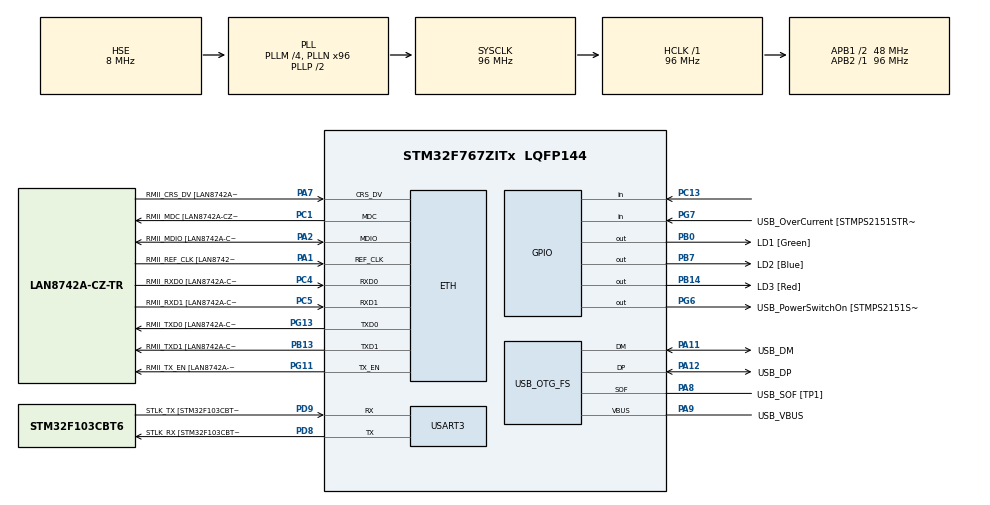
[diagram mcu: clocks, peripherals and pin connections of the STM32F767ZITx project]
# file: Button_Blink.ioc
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CORTEX_M7.default_mode_Activation=1
ETH.MediaInterface=HAL_ETH_RMII_MODE
ETH.PHY_Name=LAN8742A_PHY_ADDRESS
ETH.PHY_Value=0
ETH.PhyAddress=0
Mcu.Family=STM32F7
Mcu.Name=STM32F767ZITx
Mcu.Package=LQFP144
NVIC.PriorityGroup=NVIC_PRIORITYGROUP_4
PA1.GPIO_Label=RMII_REF_CLK [LAN8742A-CZ-TR_REFCLK0]
PA1.Mode=RMII
PA1.Signal=ETH_REF_CLK
PA10.GPIO_Label=USB_ID
PA10.Signal=USB_OTG_FS_ID
PA11.GPIO_Label=USB_DM
PA11.Mode=Device_Only
PA11.Signal=USB_OTG_FS_DM
PA12.GPIO_Label=USB_DP
PA12.Mode=Device_Only
PA12.Signal=USB_OTG_FS_DP
PA13.GPIO_Label=TMS
PA13.Mode=Serial_Wire
PA13.Signal=SYS_JTMS-SWDIO
PA14.GPIO_Label=TCK
PA14.Mode=Serial_Wire
PA14.Signal=SYS_JTCK-SWCLK
PA2.GPIO_Label=RMII_MDIO [LAN8742A-CZ-TR_MDIO]
PA2.Mode=RMII
PA2.Signal=ETH_MDIO
PA7.GPIO_Label=RMII_CRS_DV [LAN8742A-CZ-TR_CRS_DV]
PA7.Mode=RMII
PA7.Signal=ETH_CRS_DV
PA8.GPIO_Label=USB_SOF [TP1]
PA8.Mode=Activate_SOF_FS
PA8.Signal=USB_OTG_FS_SOF
PA9.GPIO_Label=USB_VBUS
PA9.Mode=Activate_VBUS
PA9.Signal=USB_OTG_FS_VBUS
PB0.GPIO_Label=LD1 [Green]
PB0.Signal=GPIO_Output
PB13.GPIO_Label=RMII_TXD1 [LAN8742A-CZ-TR_TXD1]
PB13.Mode=RMII
PB13.Signal=ETH_TXD1
PB14.GPIO_Label=LD3 [Red]
PB14.Signal=GPIO_Output
PB3.GPIO_Label=SWO
PB3.Signal=SYS_JTDO-SWO
PB7.GPIO_Label=LD2 [Blue]
PB7.Signal=GPIO_Output
PC1.GPIO_Label=RMII_MDC [LAN8742A-CZ-TR_MDC]
PC1.Mode=RMII
PC1.Signal=ETH_MDC
PC13.Signal=GPIO_Input
PC14/OSC32_IN.Mode=LSE-External-Oscillator
PC14/OSC32_IN.Signal=RCC_OSC32_IN
PC15/OSC32_OUT.Mode=LSE-External-Oscillator
PC15/OSC32_OUT.Signal=RCC_OSC32_OUT
PC4.GPIO_Label=RMII_RXD0 [LAN8742A-CZ-TR_RXD0]
PC4.Mode=RMII
PC4.Signal=ETH_RXD0
PC5.GPIO_Label=RMII_RXD1 [LAN8742A-CZ-TR_RXD1]
PC5.Mode=RMII
PC5.Signal=ETH_RXD1
PD8.GPIO_Label=STLK_RX [STM32F103CBT6_PA3]
PD8.Mode=Asynchronous
PD8.Signal=USART3_TX
PD9.GPIO_Label=STLK_TX [STM32F103CBT6_PA2]
PD9.Mode=Asynchronous
PD9.Signal=USART3_RX
PG11.GPIO_Label=RMII_TX_EN [LAN8742A-CZ-TR_TXEN]
PG11.Mode=RMII
PG11.Signal=ETH_TX_EN
PG13.GPIO_Label=RMII_TXD0 [LAN8742A-CZ-TR_TXD0]
PG13.Mode=RMII
PG13.Signal=ETH_TXD0
PG6.GPIO_Label=USB_PowerSwitchOn [STMPS2151STR_EN]
PG6.Signal=GPIO_Output
PG7.GPIO_Label=USB_OverCurrent [STMPS2151STR_FAULT]
PG7.Signal=GPIO_Input
PH0/OSC_IN.GPIO_Label=MCO [STM32F103CBT6_PA8]
PH0/OSC_IN.Mode=HSE-External-Clock-Source
PH0/OSC_IN.Signal=RCC_OSC_IN
PH1/OSC_OUT.Mode=HSE-External-Clock-Source
PH1/OSC_OUT.Signal=RCC_OSC_OUT
ProjectManager.HeapSize=0x200
ProjectManager.StackSize=0x400
ProjectManager.TargetToolchain=STM32CubeIDE
RCC.48MHZClocksFreq_Value=24000000
RCC.AHBFreq_Value=96000000
RCC.APB1CLKDivider=RCC_HCLK_DIV2
RCC.APB1Freq_Value=48000000
RCC.APB1TimFreq_Value=96000000
RCC.APB2Freq_Value=96000000
RCC.APB2TimFreq_Value=96000000
RCC.CortexFreq_Value=96000000
RCC.HCLKFreq_Value=96000000
RCC.HSE_VALUE=8000000
RCC.HSI_VALUE=16000000
RCC.PLLM=4
RCC.PLLMUL=RCC_PLL_MUL9
RCC.PLLN=96
RCC.PLLQ=4
RCC.PRESCALERUSB=RCC_USBCLKSOURCE_PLL_DIV1_5
RCC.SYSCLKFreq_VALUE=96000000
RCC.SYSCLKSource=RCC_SYSCLKSOURCE_PLLCLK
RCC.SYSCLKSourceVirtual=RCC_SYSCLKSOURCE_PLLCLK
RCC.USBFreq_Value=48000000
RCC.VCOOutputFreq_Value=192000000
USART3.VirtualMode-Asynchronous=VM_ASYNC
USB_OTG_FS.VirtualMode=Device_Only
board=NUCLEO-F767ZI

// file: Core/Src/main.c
/* USER CODE BEGIN Header */
/**
  ******************************************************************************
  * @file           : main.c
  * @brief          : Main program body
  ******************************************************************************
  * @attention
  *
  * Copyright (c) 2026 STMicroelectronics.
  * All rights reserved.
  *
  * This software is licensed under terms that can be found in the LICENSE file
  * in the root directory of this software component.
  * If no LICENSE file comes with this software, it is provided AS-IS.
  *
  ******************************************************************************
  */
/* USER CODE END Header */
#include "main.h"
#include "string.h"

#if defined ( __ICCARM__ ) /*!< IAR Compiler */
#pragma location=0x2007c000
ETH_DMADescTypeDef  DMARxDscrTab[ETH_RX_DESC_CNT]; /* Ethernet Rx DMA Descriptors */
#pragma location=0x2007c0a0
ETH_DMADescTypeDef  DMATxDscrTab[ETH_TX_DESC_CNT]; /* Ethernet Tx DMA Descriptors */

#elif defined ( __CC_ARM )  /* MDK ARM Compiler */

__attribute__((at(0x2007c000))) ETH_DMADescTypeDef  DMARxDscrTab[ETH_RX_DESC_CNT]; /* Ethernet Rx DMA Descriptors */
__attribute__((at(0x2007c0a0))) ETH_DMADescTypeDef  DMATxDscrTab[ETH_TX_DESC_CNT]; /* Ethernet Tx DMA Descriptors */

#elif defined ( __GNUC__ ) /* GNU Compiler */

ETH_DMADescTypeDef DMARxDscrTab[ETH_RX_DESC_CNT] __attribute__((section(".RxDecripSection"))); /* Ethernet Rx DMA Descriptors */
ETH_DMADescTypeDef DMATxDscrTab[ETH_TX_DESC_CNT] __attribute__((section(".TxDecripSection")));   /* Ethernet Tx DMA Descriptors */
#endif

ETH_TxPacketConfig TxConfig;

ETH_HandleTypeDef heth;

UART_HandleTypeDef huart3;

PCD_HandleTypeDef hpcd_USB_OTG_FS;

void SystemClock_Config(void);
static void MPU_Config(void);
static void MX_GPIO_Init(void);
static void MX_ETH_Init(void);
static void MX_USART3_UART_Init(void);
static void MX_USB_OTG_FS_PCD_Init(void);

int main(void)
{

  /* MPU Configuration--------------------------------------------------------*/
  MPU_Config();

  /* MCU Configuration--------------------------------------------------------*/

  /* Reset of all peripherals, Initializes the Flash interface and the Systick. */
  HAL_Init();

  /* Configure the system clock */
  SystemClock_Config();

  /* Initialize all configured peripherals */
  MX_GPIO_Init();
  MX_ETH_Init();
  MX_USART3_UART_Init();
  MX_USB_OTG_FS_PCD_Init();

  /* Infinite loop */
  /* USER CODE BEGIN WHILE */
  uint32_t Vector[] = {GPIO_PIN_0,GPIO_PIN_7,GPIO_PIN_14};
  uint8_t vectorSize = sizeof(Vector) / sizeof(Vector[0]);
  while (1)
  {
<<<<<<< HEAD
	  for (uint8_t i=0;i<vectorSize;i++){
		  HAL_GPIO_WritePin(GPIOB,Vector[i],GPIO_PIN_SET);
	  }
	  if (HAL_GPIO_ReadPin(GPIOC,GPIO_PIN_13)==GPIO_PIN_SET){
		  for (uint8_t i=0; i<vectorSize;i++){
			  HAL_GPIO_WritePin(GPIOB,Vector[i],GPIO_PIN_RESET);
		  }
		  for (uint8_t i=0;i<vectorSize;i++){
			  HAL_GPIO_WritePin(GPIOB,Vector[i],GPIO_PIN_SET);
			  HAL_Delay(500);
			  HAL_GPIO_WritePin(GPIOB,Vector[i],GPIO_PIN_RESET);
		  }

=======
	  if (HAL_GPIO_ReadPin(GPIOC,GPIO_PIN_13)){
		  for (uint8_t i=0; i<sizeof(Vector);i++){
			  HAL_GPIO_WritePin(GPIOB,Vector[i],GPIO_PIN_RESET);
		  }
		  for (uint8_t i=0;i<sizeof(Vector);i++){
			  HAL_GPIO_WritePin(GPIOB,Vector[i],GPIO_PIN_SET);
			  HAL_Delay(100);
			  HAL_GPIO_WritePin(GPIOB,Vector[i],GPIO_PIN_RESET);
		  }
		  HAL_GPIO_WritePin(GPIOB,GPIO_PIN_0,GPIO_PIN_SET);
		  HAL_GPIO_WritePin(GPIOB,GPIO_PIN_7,GPIO_PIN_SET);
		  HAL_GPIO_WritePin(GPIOB,GPIO_PIN_14,GPIO_PIN_SET);
>>>>>>> 5bce1ef9e2935c9781e133def6e2a918db716fbe
	  }
    /* USER CODE END WHILE */

  }
}

void SystemClock_Config(void)
{
  RCC_OscInitTypeDef RCC_OscInitStruct = {0};
  RCC_ClkInitTypeDef RCC_ClkInitStruct = {0};

  /** Configure LSE Drive Capability
  */
  HAL_PWR_EnableBkUpAccess();

  /** Configure the main internal regulator output voltage
  */
  __HAL_RCC_PWR_CLK_ENABLE();
  __HAL_PWR_VOLTAGESCALING_CONFIG(PWR_REGULATOR_VOLTAGE_SCALE3);

  /** Initializes the RCC Oscillators according to the specified parameters
  * in the RCC_OscInitTypeDef structure.
  */
  RCC_OscInitStruct.OscillatorType = RCC_OSCILLATORTYPE_HSE;
  RCC_OscInitStruct.HSEState = RCC_HSE_BYPASS;
  RCC_OscInitStruct.PLL.PLLState = RCC_PLL_ON;
  RCC_OscInitStruct.PLL.PLLSource = RCC_PLLSOURCE_HSE;
  RCC_OscInitStruct.PLL.PLLM = 4;
  RCC_OscInitStruct.PLL.PLLN = 96;
  RCC_OscInitStruct.PLL.PLLP = RCC_PLLP_DIV2;
  RCC_OscInitStruct.PLL.PLLQ = 4;
  RCC_OscInitStruct.PLL.PLLR = 2;
  if (HAL_RCC_OscConfig(&RCC_OscInitStruct) != HAL_OK)
  {
    Error_Handler();
  }

  /** Activate the Over-Drive mode
  */
  if (HAL_PWREx_EnableOverDrive() != HAL_OK)
  {
    Error_Handler();
  }

  /** Initializes the CPU, AHB and APB buses clocks
  */
  RCC_ClkInitStruct.ClockType = RCC_CLOCKTYPE_HCLK|RCC_CLOCKTYPE_SYSCLK
                              |RCC_CLOCKTYPE_PCLK1|RCC_CLOCKTYPE_PCLK2;
  RCC_ClkInitStruct.SYSCLKSource = RCC_SYSCLKSOURCE_PLLCLK;
  RCC_ClkInitStruct.AHBCLKDivider = RCC_SYSCLK_DIV1;
  RCC_ClkInitStruct.APB1CLKDivider = RCC_HCLK_DIV2;
  RCC_ClkInitStruct.APB2CLKDivider = RCC_HCLK_DIV1;

  if (HAL_RCC_ClockConfig(&RCC_ClkInitStruct, FLASH_LATENCY_3) != HAL_OK)
  {
    Error_Handler();
  }
}

static void MX_ETH_Init(void)
{

   static uint8_t MACAddr[6];

  heth.Instance = ETH;
  MACAddr[0] = 0x00;
  MACAddr[1] = 0x80;
  MACAddr[2] = 0xE1;
  MACAddr[3] = 0x00;
  MACAddr[4] = 0x00;
  MACAddr[5] = 0x00;
  heth.Init.MACAddr = &MACAddr[0];
  heth.Init.MediaInterface = HAL_ETH_RMII_MODE;
  heth.Init.TxDesc = DMATxDscrTab;
  heth.Init.RxDesc = DMARxDscrTab;
  heth.Init.RxBuffLen = 1524;

  if (HAL_ETH_Init(&heth) != HAL_OK)
  {
    Error_Handler();
  }

  memset(&TxConfig, 0 , sizeof(ETH_TxPacketConfig));
  TxConfig.Attributes = ETH_TX_PACKETS_FEATURES_CSUM | ETH_TX_PACKETS_FEATURES_CRCPAD;
  TxConfig.ChecksumCtrl = ETH_CHECKSUM_IPHDR_PAYLOAD_INSERT_PHDR_CALC;
  TxConfig.CRCPadCtrl = ETH_CRC_PAD_INSERT;

}

static void MX_USART3_UART_Init(void)
{

  huart3.Instance = USART3;
  huart3.Init.BaudRate = 115200;
  huart3.Init.WordLength = UART_WORDLENGTH_8B;
  huart3.Init.StopBits = UART_STOPBITS_1;
  huart3.Init.Parity = UART_PARITY_NONE;
  huart3.Init.Mode = UART_MODE_TX_RX;
  huart3.Init.HwFlowCtl = UART_HWCONTROL_NONE;
  huart3.Init.OverSampling = UART_OVERSAMPLING_16;
  huart3.Init.OneBitSampling = UART_ONE_BIT_SAMPLE_DISABLE;
  huart3.AdvancedInit.AdvFeatureInit = UART_ADVFEATURE_NO_INIT;
  if (HAL_UART_Init(&huart3) != HAL_OK)
  {
    Error_Handler();
  }

}

static void MX_USB_OTG_FS_PCD_Init(void)
{

  hpcd_USB_OTG_FS.Instance = USB_OTG_FS;
  hpcd_USB_OTG_FS.Init.dev_endpoints = 6;
  hpcd_USB_OTG_FS.Init.speed = PCD_SPEED_FULL;
  hpcd_USB_OTG_FS.Init.dma_enable = DISABLE;
  hpcd_USB_OTG_FS.Init.phy_itface = PCD_PHY_EMBEDDED;
  hpcd_USB_OTG_FS.Init.Sof_enable = ENABLE;
  hpcd_USB_OTG_FS.Init.low_power_enable = DISABLE;
  hpcd_USB_OTG_FS.Init.lpm_enable = DISABLE;
  hpcd_USB_OTG_FS.Init.vbus_sensing_enable = ENABLE;
  hpcd_USB_OTG_FS.Init.use_dedicated_ep1 = DISABLE;
  if (HAL_PCD_Init(&hpcd_USB_OTG_FS) != HAL_OK)
  {
    Error_Handler();
  }

}

static void MX_GPIO_Init(void)
{
  GPIO_InitTypeDef GPIO_InitStruct = {0};

  /* GPIO Ports Clock Enable */
  __HAL_RCC_GPIOC_CLK_ENABLE();
  __HAL_RCC_GPIOH_CLK_ENABLE();
  __HAL_RCC_GPIOA_CLK_ENABLE();
  __HAL_RCC_GPIOB_CLK_ENABLE();
  __HAL_RCC_GPIOD_CLK_ENABLE();
  __HAL_RCC_GPIOG_CLK_ENABLE();

  /*Configure GPIO pin Output Level */
  HAL_GPIO_WritePin(GPIOB, LD1_Pin|LD3_Pin|LD2_Pin, GPIO_PIN_RESET);

  /*Configure GPIO pin Output Level */
  HAL_GPIO_WritePin(USB_PowerSwitchOn_GPIO_Port, USB_PowerSwitchOn_Pin, GPIO_PIN_RESET);

  /*Configure GPIO pin : PC13 */
  GPIO_InitStruct.Pin = GPIO_PIN_13;
<<<<<<< HEAD
  GPIO_InitStruct.Mode = GPIO_MODE_INPUT;
  GPIO_InitStruct.Pull = GPIO_PULLDOWN;
=======
  GPIO_InitStruct.Mode = GPIO_MODE_IT_RISING;
  GPIO_InitStruct.Pull = GPIO_NOPULL;
>>>>>>> 5bce1ef9e2935c9781e133def6e2a918db716fbe
  HAL_GPIO_Init(GPIOC, &GPIO_InitStruct);

  /*Configure GPIO pins : LD1_Pin LD3_Pin LD2_Pin */
  GPIO_InitStruct.Pin = LD1_Pin|LD3_Pin|LD2_Pin;
  GPIO_InitStruct.Mode = GPIO_MODE_OUTPUT_PP;
  GPIO_InitStruct.Pull = GPIO_NOPULL;
  GPIO_InitStruct.Speed = GPIO_SPEED_FREQ_LOW;
  HAL_GPIO_Init(GPIOB, &GPIO_InitStruct);

  /*Configure GPIO pin : USB_PowerSwitchOn_Pin */
  GPIO_InitStruct.Pin = USB_PowerSwitchOn_Pin;
  GPIO_InitStruct.Mode = GPIO_MODE_OUTPUT_PP;
  GPIO_InitStruct.Pull = GPIO_NOPULL;
  GPIO_InitStruct.Speed = GPIO_SPEED_FREQ_LOW;
  HAL_GPIO_Init(USB_PowerSwitchOn_GPIO_Port, &GPIO_InitStruct);

  /*Configure GPIO pin : USB_OverCurrent_Pin */
  GPIO_InitStruct.Pin = USB_OverCurrent_Pin;
  GPIO_InitStruct.Mode = GPIO_MODE_INPUT;
  GPIO_InitStruct.Pull = GPIO_NOPULL;
  HAL_GPIO_Init(USB_OverCurrent_GPIO_Port, &GPIO_InitStruct);

  /* EXTI interrupt init*/
  HAL_NVIC_SetPriority(EXTI15_10_IRQn, 0, 0);
  HAL_NVIC_EnableIRQ(EXTI15_10_IRQn);

}

 /* MPU Configuration */

void MPU_Config(void)
{
  MPU_Region_InitTypeDef MPU_InitStruct = {0};

  /* Disables the MPU */
  HAL_MPU_Disable();

  /** Initializes and configures the Region and the memory to be protected
  */
  MPU_InitStruct.Enable = MPU_REGION_ENABLE;
  MPU_InitStruct.Number = MPU_REGION_NUMBER0;
  MPU_InitStruct.BaseAddress = 0x0;
  MPU_InitStruct.Size = MPU_REGION_SIZE_4GB;
  MPU_InitStruct.SubRegionDisable = 0x87;
  MPU_InitStruct.TypeExtField = MPU_TEX_LEVEL0;
  MPU_InitStruct.AccessPermission = MPU_REGION_NO_ACCESS;
  MPU_InitStruct.DisableExec = MPU_INSTRUCTION_ACCESS_DISABLE;
  MPU_InitStruct.IsShareable = MPU_ACCESS_SHAREABLE;
  MPU_InitStruct.IsCacheable = MPU_ACCESS_NOT_CACHEABLE;
  MPU_InitStruct.IsBufferable = MPU_ACCESS_NOT_BUFFERABLE;

  HAL_MPU_ConfigRegion(&MPU_InitStruct);
  /* Enables the MPU */
  HAL_MPU_Enable(MPU_PRIVILEGED_DEFAULT);

}

void Error_Handler(void)
{
  __disable_irq();
  while (1)
  {
  }
}
